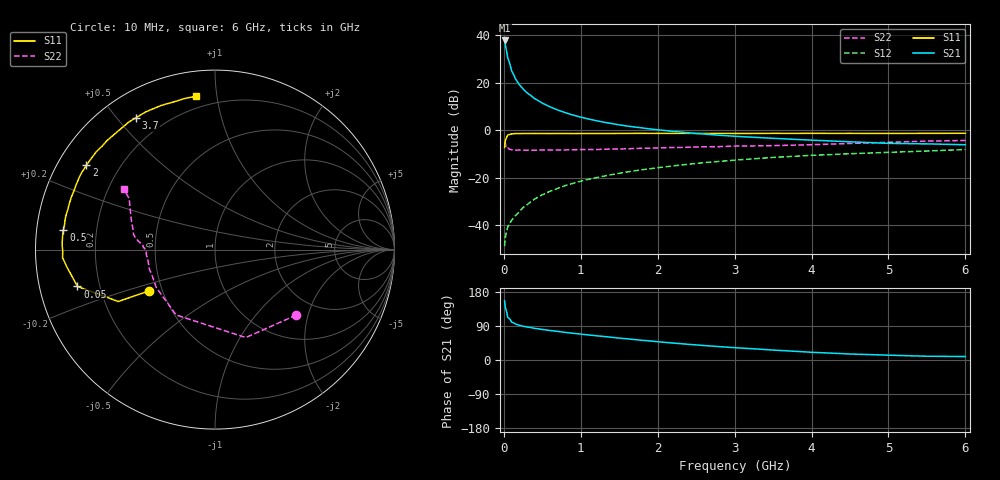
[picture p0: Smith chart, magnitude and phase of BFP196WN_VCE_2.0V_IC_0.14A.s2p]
! Infineon Technologies  Discrete & RF Semiconductors
! BFP196WN
! VCE =  2.0 V,  IC = 0.14 A
! Common Emitter S-Parameters:  Jan 2017
# GHz  S  MA  R  50
!  f  S11  S21  S12  S22
! GHz  MAG  ANG  MAG  ANG  MAG  ANG  MAG  ANG
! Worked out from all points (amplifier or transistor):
!   77 points, 10 MHz to 6 GHz, reference 50 ohm
!   highest |S21| = 37.8 dB at 10 MHz (marker M1)
!   |S21| within 3 dB of that: start of sweep to 26.67 MHz
!   unconditionally stable (mu >= 1): 185.8 MHz to 3.967 GHz; 4.02 GHz to 5.846 GHz
!   at 130 MHz: K = 0.88, MSG = 30.0 dB, |S12| = -36.8 dB
!   at 2.2 GHz: K = 1.06, MAG = 5.8 dB, |S12| = -15.0 dB
!   at 6 GHz: K = 1.00, MSG = 1.0 dB, |S12| = -8.1 dB
!   S11 on the Smith chart (normalised r, x): 10 MHz: 0.42, -0.24; 50 MHz: 0.12, -0.13; 500 MHz: 0.08, +0.06; 2 GHz: 0.08, +0.30; 3.7 GHz: 0.10, +0.56; 6 GHz: 0.13, +0.88
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0.01  0.4318 -147.9  77.75 156.2  0.0036 67.0  0.5819 -38.8
0.02  0.6121 -151.8  62.06 137.5  0.0056 56.5  0.5192 -70.7
0.05  0.7931 -165.0  33.9 112.7  0.0091 46.0  0.4237 -120.7
0.1  0.8326 -173.6  17.97 100.3  0.0125 54.8  0.3895 -147.1
0.15  0.8506 -177.0  12.2 95.0  0.0158 61.4  0.379 -158.1
0.2  0.8482 -179.5  9.19 91.7  0.019 66.8  0.3813 -163.4
0.25  0.8512 178.8  7.368 89.1  0.0234 68.3  0.3794 -166.5
0.3  0.8522 177.2  6.156 87.1  0.0267 70.2  0.378 -169.5
0.4  0.8527 174.7  4.637 83.5  0.0353 72.8  0.3785 -172.3
0.5  0.8516 172.6  3.715 80.6  0.0435 73.6  0.3815 -174.3
0.6  0.8498 170.5  3.105 77.9  0.0516 73.4  0.3839 -176.1
0.7  0.8519 168.5  2.664 75.5  0.0592 74.0  0.3825 -177.4
0.9  0.8497 164.8  2.081 70.5  0.0758 72.4  0.388 -179.0
1.1  0.8514 161.5  1.721 66.2  0.0923 71.8  0.3913 179.2
1.5  0.8539 154.9  1.296 57.8  0.1233 69.0  0.4022 176.7
2  0.8573 146.8  1.02 48.2  0.1621 64.8  0.4215 174.5
2.1  0.8565 145.3  0.982 46.5  0.1695 63.9  0.4268 174.0
3.1  0.8527 130.0  0.73 31.3  0.2401 54.1  0.4637 168.6
3.7  0.8565 121.0  0.651 24.0  0.2777 48.3  0.4812 163.4
4.1  0.8577 115.4  0.607 19.5  0.2996 44.4  0.5007 159.1
5.1  0.8548 104.7  0.525 12.2  0.3457 36.2  0.5615 149.0
6  0.8612 97.0  0.493 9.2  0.3917 29.8  0.607 146.4
